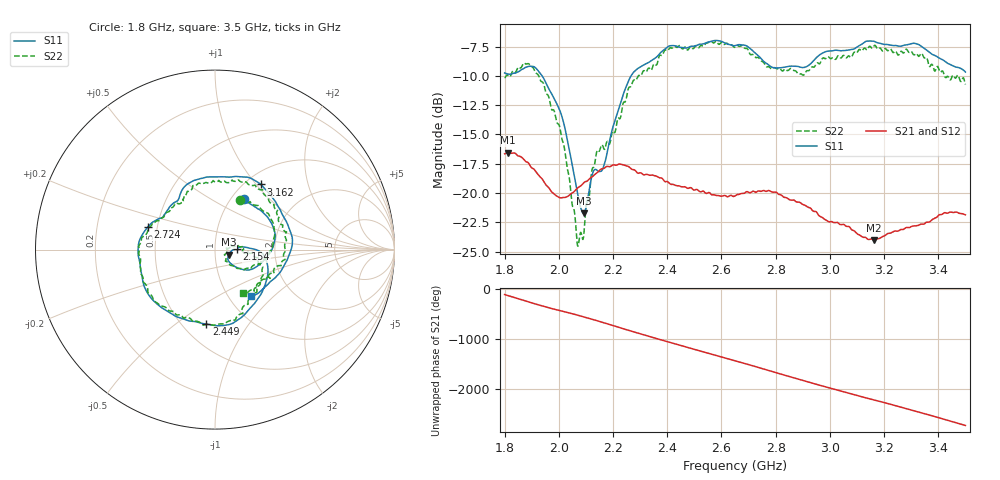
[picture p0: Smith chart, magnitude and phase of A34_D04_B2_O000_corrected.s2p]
! Created with skrf 1.9.0 (http://scikit-rf.org).
# Hz S RI R 50.0
!freq ReS11 ImS11 ReS21 ImS21 ReS12 ImS12 ReS22 ImS22
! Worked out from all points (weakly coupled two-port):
!   1601 points, 1.8 GHz to 3.5 GHz, reference 50 ohm
!   highest |S21| = -16.55 dB at 1.812 GHz (marker M1); lowest = -24.0 dB at 3.163 GHz (marker M2)
!   lowest |S11| = -21.7 dB at 2.092 GHz (marker M3), VSWR 1.18, Z = 58.2 - j3.36 ohm
!   |S11| at or under -10 dB: 1.939 GHz to 2.267 GHz (328.1 MHz wide, 15.6 % of centre)
!   |S22| runs from -24.5 to -7.0 dB; largest |S21 - S12| = 0.0023
!   S11 on the Smith chart (normalised r, x): 1.8 GHz: 1.14, +0.72; 2.154 GHz: 1.28, +0.01; 2.449 GHz: 0.65, -0.65; 2.724 GHz: 0.44, +0.13; 3.162 GHz: 1.17, +1.06; 3.5 GHz: 1.26, -0.74
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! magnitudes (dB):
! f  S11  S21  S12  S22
! 1.8 GHz  -9.8  -16.7  -16.7  -10.2
! 1.812 GHz  -9.8  -16.6  -16.5  -9.9
! 1.882 GHz  -9.2  -17.4  -17.4  -9.0
! 1.942 GHz  -10.1  -18.9  -18.9  -10.6
! 2.013 GHz  -13.6  -20.4  -20.4  -15.5
! 2.068 GHz  -19.9  -19.6  -19.6  -24.3
! 2.084 GHz  -21.5  -19.3  -19.3  -23.5
! 2.092 GHz  -21.7  -19.1  -19.2  -23.5
! 2.127 GHz  -18.2  -18.5  -18.5  -17.8
! 2.154 GHz  -18.2  -18.0  -18.0  -16.1
! 2.189 GHz  -15.4  -17.8  -17.8  -15.7
! 2.261 GHz  -10.2  -17.8  -17.8  -11.0
! 2.367 GHz  -8.2  -18.7  -18.6  -8.5
! 2.449 GHz  -7.6  -19.4  -19.4  -7.5
! 2.65 GHz  -7.4  -20.2  -20.2  -7.6
! 2.724 GHz  -8.1  -19.9  -19.9  -8.4
! 2.795 GHz  -9.3  -19.9  -19.9  -9.3
! 2.934 GHz  -8.9  -21.4  -21.4  -9.2
! 3.162 GHz  -7.1  -24.0  -23.9  -7.5
! 3.163 GHz  -7.1  -24.0  -23.9  -7.4
! 3.217 GHz  -7.4  -23.4  -23.4  -7.8
! 3.5 GHz  -9.7  -21.9  -21.8  -10.7
